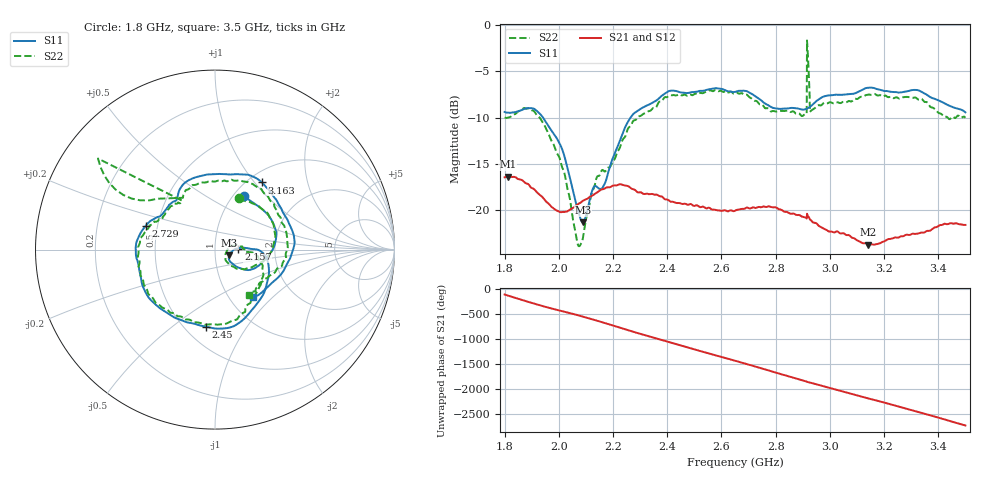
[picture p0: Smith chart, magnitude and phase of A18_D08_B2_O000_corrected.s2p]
! Created with skrf 1.9.0 (http://scikit-rf.org).
# Hz S RI R 50.0
!freq ReS11 ImS11 ReS21 ImS21 ReS12 ImS12 ReS22 ImS22
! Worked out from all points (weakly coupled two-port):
!   1601 points, 1.8 GHz to 3.5 GHz, reference 50 ohm
!   highest |S21| = -16.38 dB at 1.812 GHz (marker M1); lowest = -23.8 dB at 3.142 GHz (marker M2)
!   lowest |S11| = -21.3 dB at 2.089 GHz (marker M3), VSWR 1.19, Z = 58.5 - j3.76 ohm
!   |S11| at or under -10 dB: 1.942 GHz to 2.265 GHz (322.8 MHz wide, 15.3 % of centre)
!   |S22| runs from -23.9 to -1.7 dB; largest |S21 - S12| = 0.0029
!   S11 on the Smith chart (normalised r, x): 1.8 GHz: 1.12, +0.75; 2.157 GHz: 1.30, +0.01; 2.45 GHz: 0.63, -0.66; 2.729 GHz: 0.43, +0.14; 3.163 GHz: 1.16, +1.09; 3.5 GHz: 1.27, -0.76
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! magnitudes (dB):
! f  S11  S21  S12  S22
! 1.8 GHz  -9.4  -16.5  -16.5  -10.0
! 1.812 GHz  -9.5  -16.4  -16.4  -10.0
! 1.886 GHz  -9.0  -17.2  -17.2  -9.0
! 1.94 GHz  -9.9  -18.6  -18.6  -10.5
! 2.011 GHz  -13.4  -20.2  -20.2  -15.3
! 2.067 GHz  -19.6  -19.4  -19.4  -23.3
! 2.084 GHz  -21.2  -19.1  -19.1  -23.5
! 2.089 GHz  -21.3  -19.0  -19.0  -23.0
! 2.127 GHz  -17.6  -18.4  -18.4  -17.8
! 2.157 GHz  -17.7  -17.8  -17.8  -15.8
! 2.262 GHz  -10.1  -17.5  -17.6  -11.0
! 2.367 GHz  -8.0  -18.4  -18.4  -8.4
! 2.45 GHz  -7.3  -19.3  -19.3  -7.6
! 2.65 GHz  -7.2  -20.1  -20.1  -7.4
! 2.729 GHz  -7.8  -19.8  -19.8  -8.2
! 2.903 GHz  -9.1  -20.8  -20.8  -9.7
! 2.924 GHz  -8.9  -20.9  -20.9  -6.8
! 2.934 GHz  -8.7  -21.2  -21.2  -9.2
! 3.142 GHz  -6.8  -23.8  -23.7  -7.5
! 3.163 GHz  -6.8  -23.7  -23.7  -7.4
! 3.217 GHz  -7.2  -23.1  -23.1  -7.8
! 3.5 GHz  -9.4  -21.6  -21.6  -10.0
